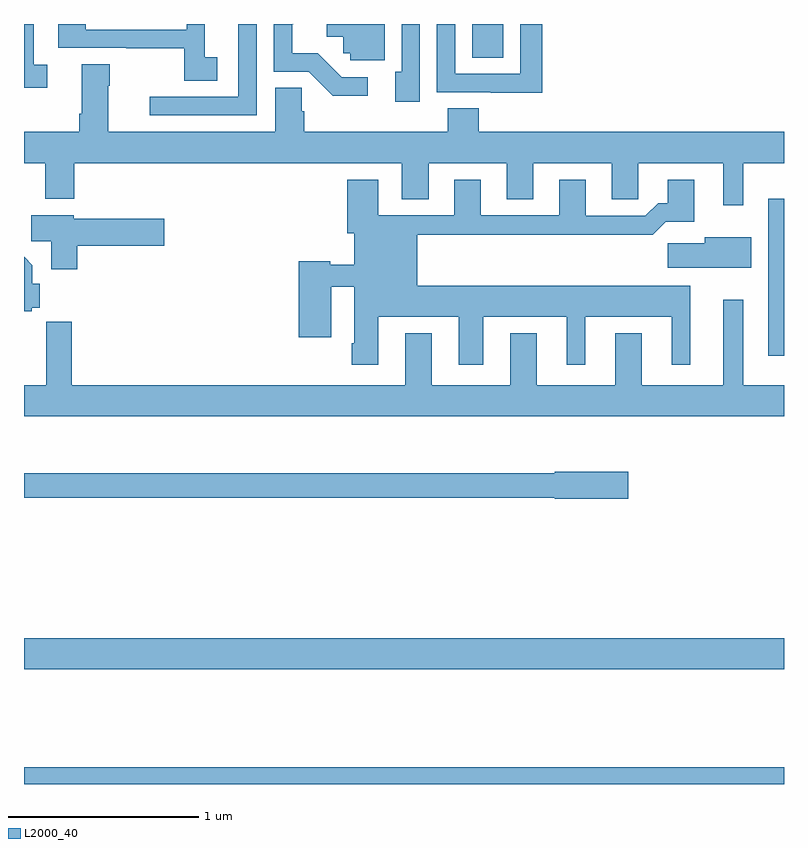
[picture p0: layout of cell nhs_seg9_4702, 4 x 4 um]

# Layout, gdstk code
import gdstk
lib = gdstk.Library(unit=1e-6, precision=1e-09)
def R(c, l, rs):  # rectangles x0, y0, x1, y1
    for r in rs: c.add(gdstk.rectangle(r[:2], r[2:], *l))
def P(c, l, *ps):  # polygons
    for p in ps: c.add(gdstk.Polygon(p, *l))
L2000_40 = (2000, 40)

nhs_seg9_4702 = lib.new_cell('nhs_seg9_4702')
R(nhs_seg9_4702, L2000_40, [(383,1178.5,387,1178.588), (383,1179.104,387,1179.268), (386.918,1180.755,387,1181.581), (385.358,1182.322,385.522,1182.5)])
P(nhs_seg9_4702, L2000_40, [(385.083,1182.5),(384.987,1182.5),(384.987,1182.25),(384.953,1182.25),(384.953,1182.09),(385.083,1182.09)],
  [(384.898,1182.5),(384.594,1182.5),(384.594,1182.434),(384.681,1182.434),(384.681,1182.345),(384.717,1182.345),(384.717,1182.309),(384.898,1182.309)],
  [(383.122,1182.285),(383.05,1182.285),(383.05,1182.5),(383,1182.5),(383,1182.165),(383.122,1182.165)],
  [(384.808,1182.219),(384.672,1182.219),(384.545,1182.346),(384.412,1182.346),(384.412,1182.496),(384.416,1182.5),(384.315,1182.5),(384.315,1182.249),(384.498,1182.249),(384.626,1182.122),(384.808,1182.122)],
  [(384.016,1182.324),(383.952,1182.324),(383.952,1182.5),(383.856,1182.5),(383.856,1182.471),(383.325,1182.471),(383.325,1182.499),(383.181,1182.499),(383.181,1182.375),(383.539,1182.375),(383.539,1182.373),(383.844,1182.373),(383.844,1182.202),(384.016,1182.202)],
  [(385.727,1182.5),(385.611,1182.5),(385.611,1182.237),(385.269,1182.237),(385.269,1182.5),(385.173,1182.5),(385.173,1182.141),(385.457,1182.141),(385.457,1182.137),(385.727,1182.137)],
  [(384.225,1182.5),(384.128,1182.5),(384.128,1182.117),(383.661,1182.117),(383.661,1182.021),(384.225,1182.021)],
  [(386.785,1181.768),(387,1181.768),(387,1181.932),(385.394,1181.932),(385.394,1182.056),(385.229,1182.056),(385.229,1181.932),(384.476,1181.932),(384.476,1182.042),(384.461,1182.042),(384.461,1182.164),(384.323,1182.164),(384.323,1181.932),(383.443,1181.932),(383.443,1182.176),(383.451,1182.176),(383.451,1182.289),(383.303,1182.289),(383.303,1182.028),(383.291,1182.028),(383.291,1181.932),(383,1181.932),(383,1181.768),(383.111,1181.768),(383.111,1181.579),(383.264,1181.579),(383.264,1181.768),(384.989,1181.768),(384.989,1181.578),(385.129,1181.578),(385.129,1181.768),(385.541,1181.768),(385.541,1181.578),(385.681,1181.578),(385.681,1181.768),(386.093,1181.768),(386.093,1181.578),(386.232,1181.578),(386.232,1181.768),(386.681,1181.768),(386.681,1181.547),(386.785,1181.547)],
  [(384.865,1180.958),(385.289,1180.958),(385.289,1180.707),(385.417,1180.707),(385.417,1180.958),(385.856,1180.958),(385.856,1180.707),(385.954,1180.707),(385.954,1180.958),(386.408,1180.958),(386.408,1180.707),(386.506,1180.707),(386.506,1181.122),(385.069,1181.122),(385.069,1181.392),(386.053,1181.392),(386.053,1181.39),(386.309,1181.39),(386.378,1181.459),(386.527,1181.459),(386.527,1181.68),(386.387,1181.68),(386.387,1181.557),(386.338,1181.557),(386.271,1181.49),(385.957,1181.49),(385.957,1181.68),(385.817,1181.68),(385.817,1181.493),(385.405,1181.493),(385.405,1181.68),(385.265,1181.68),(385.265,1181.493),(384.865,1181.493),(384.865,1181.68),(384.701,1181.68),(384.701,1181.4),(384.737,1181.4),(384.737,1181.233),(384.612,1181.233),(384.612,1181.252),(384.446,1181.252),(384.446,1180.851),(384.616,1180.851),(384.616,1181.116),(384.737,1181.116),(384.737,1180.819),(384.725,1180.819),(384.725,1180.707),(384.865,1180.707)],
  [(383.279,1181.333),(383.737,1181.333),(383.737,1181.475),(383.262,1181.475),(383.262,1181.494),(383.039,1181.494),(383.039,1181.356),(383.144,1181.356),(383.144,1181.208),(383.279,1181.208)],
  [(386.827,1181.377),(386.582,1181.377),(386.582,1181.345),(386.388,1181.345),(386.388,1181.216),(386.827,1181.216)],
  [(383.04,1181.006),(383.083,1181.006),(383.083,1181.134),(383.044,1181.134),(383.044,1181.23),(383,1181.274),(383,1180.987),(383.04,1180.987)],
  [(387,1180.6),(386.785,1180.6),(386.785,1181.05),(386.681,1181.05),(386.681,1180.6),(386.251,1180.6),(386.251,1180.873),(386.111,1180.873),(386.111,1180.6),(385.699,1180.6),(385.699,1180.873),(385.559,1180.873),(385.559,1180.6),(385.147,1180.6),(385.147,1180.873),(385.007,1180.873),(385.007,1180.6),(383.252,1180.6),(383.252,1180.933),(383.117,1180.933),(383.117,1180.82),(383.116,1180.82),(383.116,1180.6),(383,1180.6),(383,1180.436),(387,1180.436)],
  [(386.179,1180.143),(385.794,1180.143),(385.794,1180.135),(383,1180.135),(383,1180.006),(385.794,1180.006),(385.794,1180.001),(386.179,1180.001)])

lib.write_gds('nhs_seg9_4702.gds')
